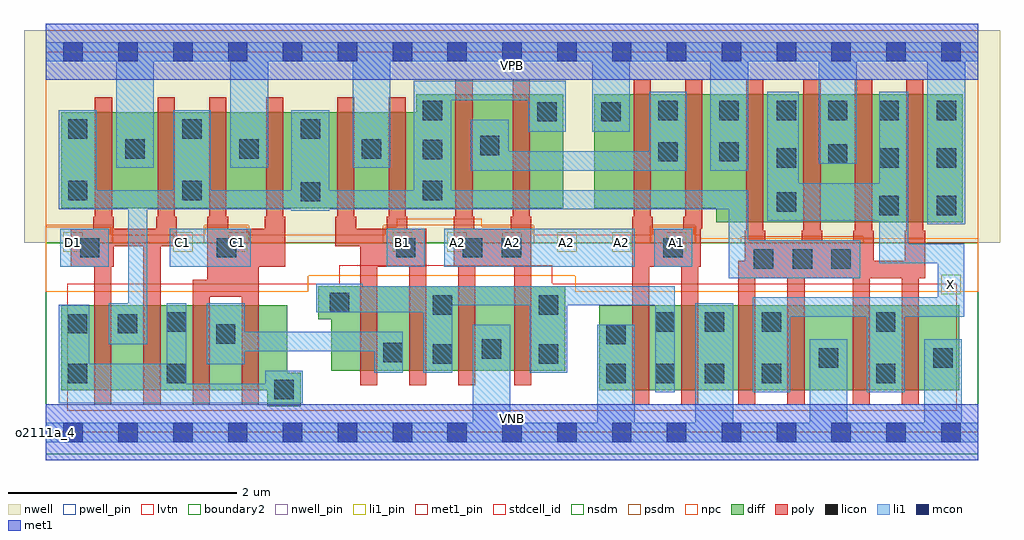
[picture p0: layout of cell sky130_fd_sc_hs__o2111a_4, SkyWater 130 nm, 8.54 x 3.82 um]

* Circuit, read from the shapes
.subckt sky130_fd_sc_hs__o2111a_4 A1 A2 B1 C1 D1 VGND VNB VPB VPWR X
XM1 n1 D1 n2 VNB sky130_fd_pr__nfet_01v8_lvt w=0.74 l=0.15 m=2
XM2 n3 C1 n2 VNB sky130_fd_pr__nfet_01v8_lvt w=0.74 l=0.15 m=2
XM3 n3 B1 n4 VNB sky130_fd_pr__nfet_01v8_lvt w=0.74 l=0.15 m=2
XM4 VGND A2 n4 VNB sky130_fd_pr__nfet_01v8_lvt w=0.74 l=0.15 m=2
XM5 n4 A1 VGND VNB sky130_fd_pr__nfet_01v8_lvt w=0.74 l=0.15 m=2
XM6 X n1 VGND VNB sky130_fd_pr__nfet_01v8_lvt w=0.74 l=0.15 m=4
XM7 VPWR D1 n1 VPB sky130_fd_pr__pfet_01v8 w=0.84 l=0.15 m=2
XM8 VPWR C1 n1 VPB sky130_fd_pr__pfet_01v8 w=0.84 l=0.15 m=2
XM9 VPWR B1 n1 VPB sky130_fd_pr__pfet_01v8 w=0.84 l=0.15 m=2
XM10 n5 A2 n1 VPB sky130_fd_pr__pfet_01v8 w=1 l=0.15 m=2
XM11 n5 A1 VPWR VPB sky130_fd_pr__pfet_01v8 w=1 l=0.15 m=2
XM12 X n1 VPWR VPB sky130_fd_pr__pfet_01v8 w=1.12 l=0.15 m=4
.ends

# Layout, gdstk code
import gdstk
lib = gdstk.Library(unit=1e-6, precision=1e-09)
def R(c, l, rs):  # rectangles x0, y0, x1, y1
    for r in rs: c.add(gdstk.rectangle(r[:2], r[2:], *l))
def A(c, l, x, y, w, h, nx, ny, dx, dy):  # array of equal rectangles
    R(c, l, [(x+i*dx, y+j*dy, x+i*dx+w, y+j*dy+h) for i in range(nx) for j in range(ny)])
def P(c, l, *ps):  # polygons
    for p in ps: c.add(gdstk.Polygon(p, *l))
nwell_pin = (64, 16)
nwell = (64, 20)
diff = (65, 20)
poly = (66, 20)
licon = (66, 44)
li1_pin = (67, 16)
li1 = (67, 20)
mcon = (67, 44)
met1_pin = (68, 16)
met1 = (68, 20)
stdcell_id = (81, 4)
nsdm = (93, 44)
psdm = (94, 20)
npc = (95, 20)
pwell_pin = (122, 16)
lvtn = (125, 44)
boundary2 = (236, 0)

sky130_fd_sc_hs__o2111a_ = lib.new_cell('sky130_fd_sc_hs__o2111a_4')
R(sky130_fd_sc_hs__o2111a_, nwell_pin, [(0,3.085,8.16,3.33)])
R(sky130_fd_sc_hs__o2111a_, nwell, [(-0.19,1.66,8.35,3.52)])
R(sky130_fd_sc_hs__o2111a_, diff, [(4.845,0.37,7.995,1.11)])
P(sky130_fd_sc_hs__o2111a_, diff, [(2.23,0.52),(2.115,0.52),(2.115,1.11),(0.135,1.11),(0.135,0.37),(1.94,0.37),(1.94,0.23),(2.23,0.23)],
  [(4.53,2.96),(3.24,2.96),(3.24,2.8),(0.135,2.8),(0.135,1.96),(4.53,1.96)],
  [(4.545,1.28),(2.385,1.28),(2.385,0.99),(2.5,0.99),(2.5,0.54),(4.545,0.54)],
  [(8.025,2.96),(4.8,2.96),(4.8,1.96),(5.865,1.96),(5.865,1.84),(8.025,1.84)])
P(sky130_fd_sc_hs__o2111a_, poly, [(1.145,1.885),(1.13,1.885),(1.13,2.93),(0.98,2.93),(0.98,1.885),(0.965,1.885),(0.965,1.78),(0.595,1.78),(0.595,1.885),(0.58,1.885),(0.58,2.93),(0.43,2.93),(0.43,1.885),(0.415,1.885),(0.415,1.78),(0.22,1.78),(0.22,1.45),(0.425,1.45),(0.425,0.24),(0.575,0.24),(0.575,1.45),(0.595,1.45),(0.595,1.63),(0.855,1.63),(0.855,0.24),(1.005,0.24),(1.005,1.63),(1.145,1.63)],
  [(2.095,1.885),(2.08,1.885),(2.08,2.93),(1.93,2.93),(1.93,1.885),(1.915,1.885),(1.915,1.78),(1.595,1.78),(1.595,1.885),(1.58,1.885),(1.58,2.93),(1.43,2.93),(1.43,1.885),(1.415,1.885),(1.415,1.335),(1.285,1.335),(1.285,0.24),(1.435,0.24),(1.435,1.185),(1.715,1.185),(1.715,0.24),(1.865,0.24),(1.865,1.45),(2.095,1.45)],
  [(3.33,1.78),(3.165,1.78),(3.165,1.885),(3.15,1.885),(3.15,2.93),(3,2.93),(3,1.885),(2.985,1.885),(2.985,1.78),(2.715,1.78),(2.715,1.885),(2.7,1.885),(2.7,2.93),(2.55,2.93),(2.55,1.885),(2.535,1.885),(2.535,1.63),(2.75,1.63),(2.75,0.41),(2.9,0.41),(2.9,1.45),(3.18,1.45),(3.18,0.41),(3.33,0.41)],
  [(7.695,1.765),(7.68,1.765),(7.68,3.09),(7.53,3.09),(7.53,1.765),(7.515,1.765),(7.515,1.5),(7.245,1.5),(7.245,1.765),(7.23,1.765),(7.23,3.09),(7.08,3.09),(7.08,1.765),(7.065,1.765),(7.065,1.68),(6.795,1.68),(6.795,1.765),(6.78,1.765),(6.78,3.09),(6.63,3.09),(6.63,1.765),(6.615,1.765),(6.615,1.68),(6.295,1.68),(6.295,1.765),(6.28,1.765),(6.28,3.09),(6.13,3.09),(6.13,1.765),(6.115,1.765),(6.115,1.5),(6.06,1.5),(6.06,0.24),(6.21,0.24),(6.21,1.35),(6.49,1.35),(6.49,0.24),(6.64,0.24),(6.64,1.35),(7.06,1.35),(7.06,0.24),(7.21,0.24),(7.21,1.35),(7.49,1.35),(7.49,0.24),(7.64,0.24),(7.64,1.35),(7.695,1.35)],
  [(5.745,3.09),(5.595,3.09),(5.595,1.885),(5.58,1.885),(5.58,1.78),(5.31,1.78),(5.31,1.885),(5.295,1.885),(5.295,3.09),(5.145,3.09),(5.145,1.885),(5.13,1.885),(5.13,0.24),(5.28,0.24),(5.28,1.45),(5.56,1.45),(5.56,0.24),(5.71,0.24),(5.71,1.45),(5.73,1.45),(5.73,1.78),(5.745,1.78)],
  [(4.25,1.885),(4.235,1.885),(4.235,3.09),(4.085,3.09),(4.085,1.885),(4.07,1.885),(4.07,1.78),(3.75,1.78),(3.75,1.885),(3.735,1.885),(3.735,3.09),(3.585,3.09),(3.585,1.885),(3.57,1.885),(3.57,1.45),(3.61,1.45),(3.61,0.41),(3.76,0.41),(3.76,1.45),(4.1,1.45),(4.1,0.41),(4.25,0.41)])
A(sky130_fd_sc_hs__o2111a_, licon, 4.905, 0.43, 0.17, 0.17, 3, 1, 0.43, 0)
A(sky130_fd_sc_hs__o2111a_, licon, 6.195, 1.43, 0.17, 0.17, 3, 1, 0.34, 0)
A(sky130_fd_sc_hs__o2111a_, licon, 7.795, 1.9, 0.17, 0.17, 1, 3, 0, 0.415)
A(sky130_fd_sc_hs__o2111a_, licon, 6.395, 2.73, 0.17, 0.17, 3, 1, 0.45, 0)
R(sky130_fd_sc_hs__o2111a_, licon, [(2,0.29,2.17,0.46), (0.195,0.43,0.365,0.6), (1.06,0.43,1.23,0.6), (6.265,0.43,6.435,0.6), (7.265,0.43,7.435,0.6), (6.765,0.565,6.935,0.735), (7.765,0.565,7.935,0.735), (3.385,0.6,3.555,0.77), (4.315,0.6,4.485,0.77), (2.955,0.615,3.125,0.785), (3.815,0.645,3.985,0.815), (4.905,0.77,5.075,0.94), (1.49,0.775,1.66,0.945), (0.195,0.865,0.365,1.035), (0.63,0.865,0.8,1.035), (1.06,0.88,1.23,1.05), (5.335,0.88,5.505,1.05), (5.765,0.88,5.935,1.05), (6.265,0.88,6.435,1.05), (7.265,0.88,7.435,1.05), (3.385,1.03,3.555,1.2), (4.315,1.03,4.485,1.2), (2.485,1.05,2.655,1.22), (0.3,1.53,0.47,1.7), (1.495,1.53,1.665,1.7), (3.065,1.53,3.235,1.7), (3.65,1.53,3.82,1.7), (3.99,1.53,4.16,1.7), (5.405,1.53,5.575,1.7), (7.295,1.9,7.465,2.07), (6.395,1.93,6.565,2.1), (2.23,2.02,2.4,2.19), (0.195,2.03,0.365,2.2), (1.195,2.03,1.365,2.2), (3.3,2.03,3.47,2.2), (6.395,2.315,6.565,2.485), (7.295,2.315,7.465,2.485), (6.845,2.35,7.015,2.52), (5.36,2.37,5.53,2.54), (5.895,2.37,6.065,2.54), (3.3,2.39,3.47,2.56), (0.695,2.395,0.865,2.565), (1.695,2.395,1.865,2.565), (2.765,2.395,2.935,2.565), (3.8,2.425,3.97,2.595), (0.195,2.57,0.365,2.74), (1.195,2.57,1.365,2.74), (2.23,2.57,2.4,2.74), (4.3,2.72,4.47,2.89), (4.86,2.72,5.03,2.89), (3.3,2.73,3.47,2.9), (5.36,2.73,5.53,2.9), (5.895,2.73,6.065,2.9)])
A(sky130_fd_sc_hs__o2111a_, li1_pin, 3.035, 1.58, 0.17, 0.17, 6, 1, 0.48, 0)
R(sky130_fd_sc_hs__o2111a_, li1_pin, [(7.835,1.21,8.005,1.38), (0.155,1.58,0.325,1.75), (1.115,1.58,1.285,1.75), (1.595,1.58,1.765,1.75)])
R(sky130_fd_sc_hs__o2111a_, li1, [(0.125,1.45,0.55,1.78), (1.085,1.45,1.795,1.78), (2.985,1.45,3.315,1.78), (3.485,1.45,5.155,1.78), (5.325,1.45,5.655,1.78)])
P(sky130_fd_sc_hs__o2111a_, li1, [(4.78,2.63),(4.78,3.245),(3.015,3.245),(3.015,2.315),(2.685,2.315),(2.685,3.245),(1.945,3.245),(1.945,2.315),(1.615,2.315),(1.615,3.245),(0.945,3.245),(0.945,2.315),(0.615,2.315),(0.615,3.245),(0,3.245),(0,3.415),(8.16,3.415),(8.16,3.245),(8.045,3.245),(8.045,1.82),(7.715,1.82),(7.715,3.245),(7.095,3.245),(7.095,2.35),(6.765,2.35),(6.765,3.245),(6.145,3.245),(6.145,2.29),(5.815,2.29),(5.815,3.245),(5.11,3.245),(5.11,2.63)],
  [(4.825,0.085),(4.825,0.94),(5.155,0.94),(5.155,0.085),(5.685,0.085),(5.685,1.13),(6.015,1.13),(6.015,0.085),(6.685,0.085),(6.685,0.815),(7.015,0.815),(7.015,0.085),(7.685,0.085),(7.685,0.815),(8.015,0.815),(8.015,0.085),(8.16,0.085),(8.16,-0.085),(0,-0.085),(0,0.085),(3.735,0.085),(3.735,0.94),(4.065,0.94),(4.065,0.085)],
  [(8.035,1.65),(7.545,1.65),(7.545,2.98),(7.295,2.98),(7.295,2.18),(6.59,2.18),(6.59,2.98),(6.315,2.98),(6.315,1.85),(7.295,1.85),(7.295,1.48),(7.805,1.48),(7.805,1.18),(6.185,1.18),(6.185,0.35),(6.515,0.35),(6.515,1.01),(7.185,1.01),(7.185,0.35),(7.515,0.35),(7.515,1.01),(8.035,1.01)],
  [(0.72,1.13),(0.72,1.95),(0.115,1.95),(0.115,2.82),(0.445,2.82),(0.445,2.12),(1.115,2.12),(1.115,2.82),(1.445,2.82),(1.445,2.12),(2.15,2.12),(2.15,2.82),(2.48,2.82),(2.48,2.12),(3.22,2.12),(3.22,3.075),(4.55,3.075),(4.55,2.63),(4.22,2.63),(4.22,2.905),(3.55,2.905),(3.55,2.12),(6.145,2.12),(6.145,1.68),(7.125,1.68),(7.125,1.35),(5.975,1.35),(5.975,1.95),(2.48,1.95),(2.48,1.94),(2.15,1.94),(2.15,1.95),(0.89,1.95),(0.89,0.77),(0.55,0.77),(0.55,1.13)],
  [(5.28,2.46),(5.28,2.98),(5.61,2.98),(5.61,2.29),(3.72,2.29),(3.72,2.735),(4.05,2.735),(4.05,2.46)],
  [(2.25,0.54),(1.92,0.54),(1.92,0.425),(1.23,0.425),(1.23,1.13),(1.06,1.13),(1.06,0.6),(0.38,0.6),(0.38,1.115),(0.115,1.115),(0.115,0.255),(2.25,0.255)],
  [(2.875,0.52),(2.875,0.71),(1.74,0.71),(1.74,0.595),(1.41,0.595),(1.41,1.13),(1.74,1.13),(1.74,0.88),(3.125,0.88),(3.125,0.52)],
  [(3.305,0.52),(3.305,1.05),(2.365,1.05),(2.365,1.3),(2.775,1.3),(2.775,1.28),(5.505,1.28),(5.505,0.35),(5.335,0.35),(5.335,1.11),(4.565,1.11),(4.565,0.52),(4.235,0.52),(4.235,1.11),(3.555,1.11),(3.555,0.52)])
A(sky130_fd_sc_hs__o2111a_, mcon, 0.155, -0.085, 0.17, 0.17, 17, 2, 0.48, 3.33)
R(sky130_fd_sc_hs__o2111a_, met1_pin, [(0,0,8.16,0.245), (0,3.085,8.16,3.33)])
R(sky130_fd_sc_hs__o2111a_, met1, [(0,-0.245,8.16,0.245), (0,3.085,8.16,3.575)])
R(sky130_fd_sc_hs__o2111a_, stdcell_id, [(0,0,8.16,3.33)])
R(sky130_fd_sc_hs__o2111a_, nsdm, [(0,-0.19,8.16,1.66)])
P(sky130_fd_sc_hs__o2111a_, psdm, [(8.16,3.52),(0,3.52),(0,1.81),(0.58,1.81),(0.58,1.66),(1.385,1.66),(1.385,1.81),(1.775,1.81),(1.775,1.66),(2.955,1.66),(2.955,1.81),(4.27,1.81),(4.27,1.66),(5.295,1.66),(5.295,1.81),(5.685,1.81),(5.685,1.66),(6.085,1.66),(6.085,1.71),(7.155,1.71),(7.155,1.66),(8.16,1.66)])
P(sky130_fd_sc_hs__o2111a_, npc, [(8.16,1.7),(5.725,1.7),(5.725,1.73),(5.675,1.73),(5.675,1.8),(5.305,1.8),(5.305,1.73),(4.26,1.73),(4.26,1.8),(3.815,1.8),(3.815,1.87),(3.07,1.87),(3.07,1.8),(2.965,1.8),(2.965,1.73),(1.765,1.73),(1.765,1.8),(1.395,1.8),(1.395,1.73),(0.57,1.73),(0.57,1.8),(0,1.8),(0,1.23),(2.295,1.23),(2.295,1.37),(4.635,1.37),(4.635,1.23),(8.16,1.23)])
R(sky130_fd_sc_hs__o2111a_, pwell_pin, [(0,0,8.16,0.245)])
P(sky130_fd_sc_hs__o2111a_, lvtn, [(7.97,1.3),(4.43,1.3),(4.43,1.46),(2.57,1.46),(2.57,1.3),(0.19,1.3),(0.19,0.19),(7.97,0.19)])
R(sky130_fd_sc_hs__o2111a_, boundary2, [(0,0,8.16,3.33)])
sky130_fd_sc_hs__o2111a_.add(gdstk.Label('o2111a_4', (0,0), layer=83, texttype=44))
sky130_fd_sc_hs__o2111a_.add(gdstk.Label('VNB', (4.08,0.123), layer=64, texttype=59))
sky130_fd_sc_hs__o2111a_.add(gdstk.Label('VPB', (4.08,3.208), layer=64, texttype=5))
sky130_fd_sc_hs__o2111a_.add(gdstk.Label('VPWR', (4.08,3.208), layer=68, texttype=5))
sky130_fd_sc_hs__o2111a_.add(gdstk.Label('VGND', (4.08,0.123), layer=68, texttype=5))
sky130_fd_sc_hs__o2111a_.add(gdstk.Label('D1', (0.24,1.665), layer=67, texttype=5))
sky130_fd_sc_hs__o2111a_.add(gdstk.Label('C1', (1.2,1.665), layer=67, texttype=5))
sky130_fd_sc_hs__o2111a_.add(gdstk.Label('C1', (1.68,1.665), layer=67, texttype=5))
sky130_fd_sc_hs__o2111a_.add(gdstk.Label('B1', (3.12,1.665), layer=67, texttype=5))
sky130_fd_sc_hs__o2111a_.add(gdstk.Label('A2', (3.6,1.665), layer=67, texttype=5))
sky130_fd_sc_hs__o2111a_.add(gdstk.Label('A2', (4.08,1.665), layer=67, texttype=5))
sky130_fd_sc_hs__o2111a_.add(gdstk.Label('A2', (4.56,1.665), layer=67, texttype=5))
sky130_fd_sc_hs__o2111a_.add(gdstk.Label('A2', (5.04,1.665), layer=67, texttype=5))
sky130_fd_sc_hs__o2111a_.add(gdstk.Label('A1', (5.52,1.665), layer=67, texttype=5))
sky130_fd_sc_hs__o2111a_.add(gdstk.Label('X', (7.92,1.295), layer=67, texttype=5))

lib.write_gds('sky130_fd_sc_hs__o2111a_4.gds')
